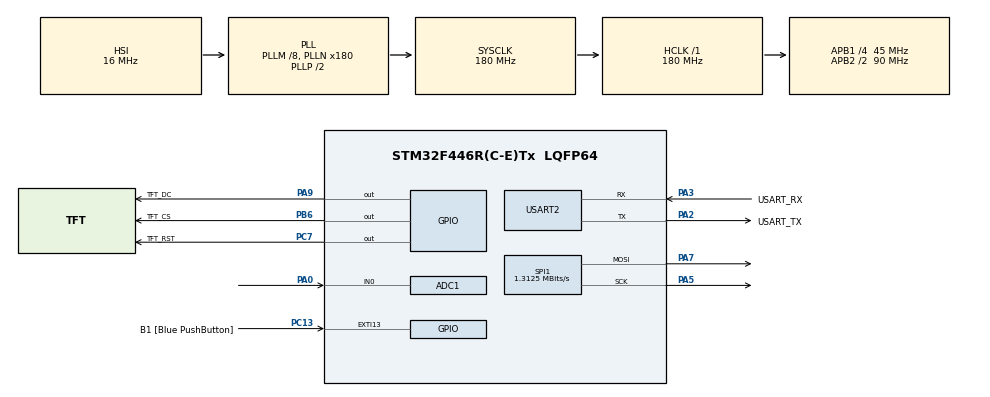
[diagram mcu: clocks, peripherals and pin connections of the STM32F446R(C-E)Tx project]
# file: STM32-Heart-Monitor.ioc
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ADC1.Channel-0\#ChannelRegularConversion=ADC_CHANNEL_0
ADC1.ContinuousConvMode=DISABLE
ADC1.DMAContinuousRequests=DISABLE
ADC1.ExternalTrigConv=ADC_EXTERNALTRIGCONV_T2_TRGO
ADC1.NbrOfConversionFlag=1
ADC1.Rank-0\#ChannelRegularConversion=1
ADC1.SamplingTime-0\#ChannelRegularConversion=ADC_SAMPLETIME_480CYCLES
ADC1.master=1
Dma.Request0=SPI1_TX
Dma.SPI1_TX.0.Direction=DMA_MEMORY_TO_PERIPH
Dma.SPI1_TX.0.FIFOMode=DMA_FIFOMODE_DISABLE
Dma.SPI1_TX.0.Instance=DMA2_Stream3
Dma.SPI1_TX.0.MemDataAlignment=DMA_MDATAALIGN_BYTE
Dma.SPI1_TX.0.MemInc=DMA_MINC_ENABLE
Dma.SPI1_TX.0.Mode=DMA_NORMAL
Dma.SPI1_TX.0.PeriphDataAlignment=DMA_PDATAALIGN_BYTE
Dma.SPI1_TX.0.PeriphInc=DMA_PINC_DISABLE
Dma.SPI1_TX.0.Priority=DMA_PRIORITY_LOW
FREERTOS.INCLUDE_vTaskDelayUntil=1
FREERTOS.Tasks01=graphTask,0,512,StartGraphTask,Default,NULL,Dynamic,NULL,NULL;sensorTask,3,256,StartSensorTask,Default,NULL,Dynamic,NULL,NULL;UITask,-2,128,StartUITask,Default,NULL,Dynamic,NULL,NULL;inferenceTask,-3,1024,StartInferenceTask,As weak,NULL,Dynamic,NULL,NULL
FREERTOS.configUSE_NEWLIB_REENTRANT=1
Mcu.Family=STM32F4
Mcu.Name=STM32F446R(C-E)Tx
Mcu.Package=LQFP64
NVIC.ADC_IRQn=true\:5\:0\:false\:false\:true\:true\:true\:true\:true
NVIC.DMA2_Stream3_IRQn=true\:5\:0\:false\:false\:true\:true\:false\:true\:true
NVIC.PriorityGroup=NVIC_PRIORITYGROUP_4
NVIC.SPI1_IRQn=true\:5\:0\:false\:false\:true\:true\:true\:true\:true
NVIC.TIM1_UP_TIM10_IRQn=true\:15\:0\:false\:false\:true\:false\:false\:true\:true
NVIC.TimeBase=TIM1_UP_TIM10_IRQn
NVIC.TimeBaseIP=TIM1
PA0-WKUP.Signal=ADCx_IN0
PA13.GPIO_Label=TMS
PA13.Mode=Serial_Wire
PA13.Signal=SYS_JTMS-SWDIO
PA14.GPIO_Label=TCK
PA14.Mode=Serial_Wire
PA14.Signal=SYS_JTCK-SWCLK
PA2.GPIO_Label=USART_TX
PA2.Mode=Asynchronous
PA2.Signal=USART2_TX
PA3.GPIO_Label=USART_RX
PA3.Mode=Asynchronous
PA3.Signal=USART2_RX
PA5.Mode=TX_Only_Simplex_Unidirect_Master
PA5.Signal=SPI1_SCK
PA7.Mode=TX_Only_Simplex_Unidirect_Master
PA7.Signal=SPI1_MOSI
PA9.GPIO_Label=TFT_DC
PA9.Signal=GPIO_Output
PB3.GPIO_Label=SWO
PB3.Signal=SYS_JTDO-SWO
PB6.GPIO_Label=TFT_CS
PB6.Signal=GPIO_Output
PC13.GPIO_Label=B1 [Blue PushButton]
PC13.GPIO_ModeDefaultEXTI=GPIO_MODE_IT_FALLING
PC13.Signal=GPXTI13
PC14-OSC32_IN.Mode=LSE-External-Oscillator
PC14-OSC32_IN.Signal=RCC_OSC32_IN
PC15-OSC32_OUT.Mode=LSE-External-Oscillator
PC15-OSC32_OUT.Signal=RCC_OSC32_OUT
PC7.GPIO_Label=TFT_RST
PC7.Signal=GPIO_Output
PH0-OSC_IN.Mode=HSE-External-Oscillator
PH0-OSC_IN.Signal=RCC_OSC_IN
PH1-OSC_OUT.Mode=HSE-External-Oscillator
PH1-OSC_OUT.Signal=RCC_OSC_OUT
ProjectManager.HeapSize=0x800
ProjectManager.StackSize=0x800
ProjectManager.TargetToolchain=STM32CubeIDE
RCC.48MHZClocksFreq_Value=84000000
RCC.AHBFreq_Value=180000000
RCC.APB1CLKDivider=RCC_HCLK_DIV4
RCC.APB1Freq_Value=45000000
RCC.APB1TimFreq_Value=90000000
RCC.APB2CLKDivider=RCC_HCLK_DIV2
RCC.APB2Freq_Value=90000000
RCC.APB2TimFreq_Value=180000000
RCC.CortexFreq_Value=180000000
RCC.FLatency-AdvancedSettings=FLASH_LATENCY_5
RCC.HCLKFreq_Value=180000000
RCC.HSE_VALUE=8000000
RCC.HSI_VALUE=16000000
RCC.PLLM=8
RCC.PLLN=180
RCC.PLLP=2
RCC.SYSCLKFreq_VALUE=180000000
RCC.SYSCLKSource=RCC_SYSCLKSOURCE_PLLCLK
RCC.USBFreq_Value=180000000
RCC.VCOOutputFreq_Value=360000000
SH.ADCx_IN0.0=ADC1_IN0,IN0
SPI1.BaudRatePrescaler=SPI_BAUDRATEPRESCALER_64
SPI1.CalculateBaudRate=1.3125 MBits/s
SPI1.Direction=SPI_DIRECTION_2LINES
SPI1.Mode=SPI_MODE_MASTER
SPI1.VirtualType=VM_MASTER
STMicroelectronics.X-CUBE-AI.10.2.0.ActivationBufferSizeList=94784
STMicroelectronics.X-CUBE-AI.10.2.0.ActivationBuffers=pool0
STMicroelectronics.X-CUBE-AI.10.2.0.ActivationNames=pool0
STMicroelectronics.X-CUBE-AI.10.2.0.ActivationSizes=AI_ECG_MODEL_DATA_ACTIVATION_1_SIZE
STMicroelectronics.X-CUBE-AI.10.2.0.HeapSize=0x800
STMicroelectronics.X-CUBE-AI.10.2.0.InternalRamActivationBufferMaxSize=AI_ECG_MODEL_DATA_ACTIVATIONS_SIZE
STMicroelectronics.X-CUBE-AI.10.2.0.LatestDirectoryUsed-f053007c6b7686058ecd9efc687a9a5fcd1ffeafef4148dfb31bc4c1f18884ef=/Users/andrewfranco/Documents/JetBrains/Pycharm/ecg-rhythm-classifier/model
STMicroelectronics.X-CUBE-AI.10.2.0.MaximumNumberOfInputLayer=1
STMicroelectronics.X-CUBE-AI.10.2.0.MaximumNumberOfOutputLayer=1
STMicroelectronics.X-CUBE-AI.10.2.0.MaximumSizeOfInputLayer=1
STMicroelectronics.X-CUBE-AI.10.2.0.MaximumSizeOfOutputLayer=1
STMicroelectronics.X-CUBE-AI.10.2.0.ModelActualCompression-f053007c6b7686058ecd9efc687a9a5fcd1ffeafef4148dfb31bc4c1f18884ef=0.0
STMicroelectronics.X-CUBE-AI.10.2.0.ModelCompression-f053007c6b7686058ecd9efc687a9a5fcd1ffeafef4148dfb31bc4c1f18884ef=None
STMicroelectronics.X-CUBE-AI.10.2.0.ModelFlashOccupation-f053007c6b7686058ecd9efc687a9a5fcd1ffeafef4148dfb31bc4c1f18884ef=65420
STMicroelectronics.X-CUBE-AI.10.2.0.ModelHashList=f053007c6b7686058ecd9efc687a9a5fcd1ffeafef4148dfb31bc4c1f18884ef
STMicroelectronics.X-CUBE-AI.10.2.0.ModelKind-f053007c6b7686058ecd9efc687a9a5fcd1ffeafef4148dfb31bc4c1f18884ef=TFLITE
STMicroelectronics.X-CUBE-AI.10.2.0.ModelMacc-f053007c6b7686058ecd9efc687a9a5fcd1ffeafef4148dfb31bc4c1f18884ef=4650835
STMicroelectronics.X-CUBE-AI.10.2.0.ModelName-f053007c6b7686058ecd9efc687a9a5fcd1ffeafef4148dfb31bc4c1f18884ef=ecg_model
STMicroelectronics.X-CUBE-AI.10.2.0.ModelNameList=ecg_model
STMicroelectronics.X-CUBE-AI.10.2.0.ModelRamOccupation-f053007c6b7686058ecd9efc687a9a5fcd1ffeafef4148dfb31bc4c1f18884ef=94784
STMicroelectronics.X-CUBE-AI.10.2.0.ModelStructureFile-f053007c6b7686058ecd9efc687a9a5fcd1ffeafef4148dfb31bc4c1f18884ef=/Users/andrewfranco/Documents/JetBrains/Pycharm/ecg-rhythm-classifier/model/energy_ecg_model_lr.tflite
STMicroelectronics.X-CUBE-AI.10.2.0.ModelType-f053007c6b7686058ecd9efc687a9a5fcd1ffeafef4148dfb31bc4c1f18884ef=STM32Cube.AI MCU runtime
STMicroelectronics.X-CUBE-AI.10.2.0.ReadyForCodeGeneration=true
STMicroelectronics.X-CUBE-AI.10.2.0.StackSize=0x800
STMicroelectronics.X-CUBE-AI.10.2.0.WorkingBufferStartAddrList=0xFFFFFFFF
STMicroelectronics.X-CUBE-AI.10.2.0.XAaCUBEAaAICcArtificialOoIntelligenceJjCore=true
STMicroelectronics.X-CUBE-AI.10.2.0.copyWeightToRam-f053007c6b7686058ecd9efc687a9a5fcd1ffeafef4148dfb31bc4c1f18884ef=false
STMicroelectronics.X-CUBE-AI.10.2.0.customLayerConfigEnabled-f053007c6b7686058ecd9efc687a9a5fcd1ffeafef4148dfb31bc4c1f18884ef=false
STMicroelectronics.X-CUBE-AI.10.2.0.noOnnxIoTranspose-f053007c6b7686058ecd9efc687a9a5fcd1ffeafef4148dfb31bc4c1f18884ef=false
STMicroelectronics.X-CUBE-AI.10.2.0.optimization-f053007c6b7686058ecd9efc687a9a5fcd1ffeafef4148dfb31bc4c1f18884ef=time
STMicroelectronics.X-CUBE-AI.10.2.0.outputDirectory-f053007c6b7686058ecd9efc687a9a5fcd1ffeafef4148dfb31bc4c1f18884ef=/Users/andrewfranco/.stm32cubemx/ecg_model_output
STMicroelectronics.X-CUBE-AI.10.2.0.useInputAllocation-f053007c6b7686058ecd9efc687a9a5fcd1ffeafef4148dfb31bc4c1f18884ef=true
STMicroelectronics.X-CUBE-AI.10.2.0.useOutputAllocation-f053007c6b7686058ecd9efc687a9a5fcd1ffeafef4148dfb31bc4c1f18884ef=true
TIM2.AutoReloadPreload=TIM_AUTORELOAD_PRELOAD_ENABLE
TIM2.Period=999
TIM2.Prescaler=83
TIM2.TIM_MasterOutputTrigger=TIM_TRGO_UPDATE
USART2.VirtualMode=VM_ASYNC
VP_FREERTOS_VS_CMSIS_V1.Mode=CMSIS_V1
VP_STMicroelectronics.X-CUBE-AI_VS_ArtificialOoIntelligenceJjXAaCUBEAaAI_10.2.0.Mode=ArtificialOoIntelligenceJjXAaCUBEAaAI
VP_SYS_VS_tim1.Mode=TIM1
VP_TIM2_VS_ClockSourceINT.Mode=Internal
board=NUCLEO-F446RE

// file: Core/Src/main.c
/* USER CODE BEGIN Header */
/**
  ******************************************************************************
  * @file           : main.c
  * @brief          : Main program body
  ******************************************************************************
  * @attention
  *
  * Copyright (c) 2025 STMicroelectronics.
  * All rights reserved.
  *
  * This software is licensed under terms that can be found in the LICENSE file
  * in the root directory of this software component.
  * If no LICENSE file comes with this software, it is provided AS-IS.
  *
  ******************************************************************************
  */
/* USER CODE END Header */
#include "main.h"
#include "cmsis_os.h"
#include "adc.h"
#include "dma.h"
#include "spi.h"
#include "tim.h"
#include "usart.h"
#include "gpio.h"

/* USER CODE BEGIN Includes */
#include "ili9341.h"
#include "filter.h"
#include "queue.h"
#include "semphr.h"
/* USER CODE END Includes */

/* USER CODE BEGIN PV */

/* USER CODE BEGIN PV */
volatile uint32_t raw_val = 0;
uint32_t last_tick = 0;

// RTOS Handles
extern osThreadId DisplayTaskHandle;
extern osThreadId SensorTaskHandle;
/* USER CODE END PV */

void SystemClock_Config(void);
void MX_FREERTOS_Init(void);

/* USER CODE BEGIN 0 */
#include "stdio.h"
#include "string.h"

/* USER CODE END 0 */

int main(void)
{

  /* MCU Configuration--------------------------------------------------------*/

  /* Reset of all peripherals, Initializes the Flash interface and the Systick. */
  HAL_Init();

  /* Configure the system clock */
  SystemClock_Config();

  /* Initialize all configured peripherals */
  MX_GPIO_Init();
  MX_DMA_Init();
  MX_USART2_UART_Init();
  MX_ADC1_Init();
  MX_TIM2_Init();
  MX_SPI1_Init();
  /* USER CODE BEGIN 2 */

  // Initialize tft screen
  ILI_Init_Minimal();
  ILI_Fill(0x0000); // Clear Screen

  uint16_t x = 0;
  uint16_t last_y = 120;
  /* USER CODE END 2 */

  /* Call init function for freertos objects (in cmsis_os2.c) */
  MX_FREERTOS_Init();

  /* Start scheduler */
  osKernelStart();

  /* We should never get here as control is now taken by the scheduler */

  /* Infinite loop */
  while (1) {

  }
}

void SystemClock_Config(void)
{
  RCC_OscInitTypeDef RCC_OscInitStruct = {0};
  RCC_ClkInitTypeDef RCC_ClkInitStruct = {0};

  /** Configure the main internal regulator output voltage
  */
  __HAL_RCC_PWR_CLK_ENABLE();
  __HAL_PWR_VOLTAGESCALING_CONFIG(PWR_REGULATOR_VOLTAGE_SCALE1);

  /** Initializes the RCC Oscillators according to the specified parameters
  * in the RCC_OscInitTypeDef structure.
  */
  RCC_OscInitStruct.OscillatorType = RCC_OSCILLATORTYPE_HSI;
  RCC_OscInitStruct.HSIState = RCC_HSI_ON;
  RCC_OscInitStruct.HSICalibrationValue = RCC_HSICALIBRATION_DEFAULT;
  RCC_OscInitStruct.PLL.PLLState = RCC_PLL_ON;
  RCC_OscInitStruct.PLL.PLLSource = RCC_PLLSOURCE_HSI;
  RCC_OscInitStruct.PLL.PLLM = 8;
  RCC_OscInitStruct.PLL.PLLN = 180;
  RCC_OscInitStruct.PLL.PLLP = 2;
  RCC_OscInitStruct.PLL.PLLQ = 2;
  RCC_OscInitStruct.PLL.PLLR = 2;
  if (HAL_RCC_OscConfig(&RCC_OscInitStruct) != HAL_OK)
  {
    Error_Handler();
  }

  /** Activate the Over-Drive mode
  */
  if (HAL_PWREx_EnableOverDrive() != HAL_OK)
  {
    Error_Handler();
  }

  /** Initializes the CPU, AHB and APB buses clocks
  */
  RCC_ClkInitStruct.ClockType = RCC_CLOCKTYPE_HCLK|RCC_CLOCKTYPE_SYSCLK
                              |RCC_CLOCKTYPE_PCLK1|RCC_CLOCKTYPE_PCLK2;
  RCC_ClkInitStruct.SYSCLKSource = RCC_SYSCLKSOURCE_PLLCLK;
  RCC_ClkInitStruct.AHBCLKDivider = RCC_SYSCLK_DIV1;
  RCC_ClkInitStruct.APB1CLKDivider = RCC_HCLK_DIV4;
  RCC_ClkInitStruct.APB2CLKDivider = RCC_HCLK_DIV2;

  if (HAL_RCC_ClockConfig(&RCC_ClkInitStruct, FLASH_LATENCY_5) != HAL_OK)
  {
    Error_Handler();
  }
}

/* USER CODE BEGIN 4 */
int _write(int file, char *ptr, int len)
{
  HAL_UART_Transmit(&huart2, (uint8_t*)ptr, len, HAL_MAX_DELAY);
  return len;
}

/* USER CODE END 4 */

void HAL_TIM_PeriodElapsedCallback(TIM_HandleTypeDef *htim)
{
  if (htim->Instance == TIM1)
  {
    HAL_IncTick();
  }
}

void Error_Handler(void)
{
  __disable_irq();
  while (1)
  {
  }
}

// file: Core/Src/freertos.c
/* USER CODE BEGIN Header */
/**
  ******************************************************************************
  * File Name          : freertos.c
  * Description        : Code for freertos applications
  ******************************************************************************
  * @attention
  *
  * Copyright (c) 2026 STMicroelectronics.
  * All rights reserved.
  *
  * This software is licensed under terms that can be found in the LICENSE file
  * in the root directory of this software component.
  * If no LICENSE file comes with this software, it is provided AS-IS.
  *
  ******************************************************************************
  */
/* USER CODE END Header */

#include "FreeRTOS.h"
#include "task.h"
#include "main.h"
#include "cmsis_os.h"

/* USER CODE BEGIN Includes */
#include <stdio.h>
#include "ili9341.h"
#include "filter.h"
#include "ad8232.h"
#include "graph.h"
#include "heart_rate.h"
#include "PanTompkins.h"
#include "tim.h"
#include "inference.h"

/* USER CODE END Includes */

/* USER CODE BEGIN Variables */

// ECG window
#define INFERENCE_INTERVAL 150
float    ecg_window[ECG_WINDOW_SIZE];
uint16_t window_idx       = 0;
uint16_t samples_since_inference = 0;
uint8_t  window_primed    = 0;

volatile RhythmClass_t global_rhythm   = RHYTHM_NONE;
volatile float         global_confidence = 0.0f;

// --- SHARED DATA ---
volatile uint8_t global_bpm = 0;

// HR Debug
// volatile uint8_t beat_detected_debug_flag = 0;

// --- HARDWARE HANDLES (Defined in main.c) ---
extern ADC_HandleTypeDef hadc1;
extern SPI_HandleTypeDef hspi1;

// --- RTOS OBJECTS ---
QueueHandle_t ecgQueue;
SemaphoreHandle_t lcdSpiSemaphore;
SemaphoreHandle_t inferenceReadySemaphore;

/* USER CODE END Variables */
osThreadId graphTaskHandle;
osThreadId sensorTaskHandle;
osThreadId UITaskHandle;
osThreadId inferenceTaskHandle;

void StartGraphTask(void const * argument);
void StartSensorTask(void const * argument);
void StartUITask(void const * argument);
void StartInferenceTask(void const * argument);

void MX_FREERTOS_Init(void); /* (MISRA C 2004 rule 8.1) */

/* GetIdleTaskMemory prototype (linked to static allocation support) */
void vApplicationGetIdleTaskMemory( StaticTask_t **ppxIdleTaskTCBBuffer, StackType_t **ppxIdleTaskStackBuffer, uint32_t *pulIdleTaskStackSize );

/* USER CODE BEGIN GET_IDLE_TASK_MEMORY */
static StaticTask_t xIdleTaskTCBBuffer;
static StackType_t xIdleStack[configMINIMAL_STACK_SIZE];

void vApplicationGetIdleTaskMemory( StaticTask_t **ppxIdleTaskTCBBuffer, StackType_t **ppxIdleTaskStackBuffer, uint32_t *pulIdleTaskStackSize )
{
  *ppxIdleTaskTCBBuffer = &xIdleTaskTCBBuffer;
  *ppxIdleTaskStackBuffer = &xIdleStack[0];
  *pulIdleTaskStackSize = configMINIMAL_STACK_SIZE;
  /* place for user code */
}
/* USER CODE END GET_IDLE_TASK_MEMORY */

void MX_FREERTOS_Init(void) {
  /* USER CODE BEGIN Init */

  ecgQueue = xQueueCreate(128, sizeof(uint16_t));

  // Create Semaphores (Binary)
  lcdSpiSemaphore = xSemaphoreCreateBinary();
  xSemaphoreGive(lcdSpiSemaphore);

  inferenceReadySemaphore = xSemaphoreCreateBinary();

  // Start ADC
  HAL_ADC_Start(&hadc1);

  /* USER CODE END Init */

  /* Create the thread(s) */
  /* definition and creation of graphTask */
  osThreadDef(graphTask, StartGraphTask, osPriorityNormal, 0, 512);
  graphTaskHandle = osThreadCreate(osThread(graphTask), NULL);

  /* definition and creation of sensorTask */
  osThreadDef(sensorTask, StartSensorTask, osPriorityRealtime, 0, 256);
  sensorTaskHandle = osThreadCreate(osThread(sensorTask), NULL);

  /* definition and creation of UITask */
  osThreadDef(UITask, StartUITask, osPriorityLow, 0, 128);
  UITaskHandle = osThreadCreate(osThread(UITask), NULL);

  /* definition and creation of inferenceTask */
  osThreadDef(inferenceTask, StartInferenceTask, osPriorityIdle, 0, 1024);
  inferenceTaskHandle = osThreadCreate(osThread(inferenceTask), NULL);

}

void StartGraphTask(void const * argument)
{
  /* USER CODE BEGIN StartGraphTask */
  PT_init();
  uint16_t val_from_queue;
  uint16_t filtered_val;
  uint32_t current_time;
  uint8_t decimation_counter = 0;

  /* Infinite loop */
  for(;;)
  {
    current_time = HAL_GetTick();

    // --- DATA PROCESSING ---
    if (xQueueReceive(ecgQueue, &val_from_queue, 1) == pdTRUE) {

      filtered_val = Filter_Signal(val_from_queue);

      // Keep UI and Heart Rate running at 1kHz for accuracy/smoothness
      Process_Graph(filtered_val);
      Process_HeartRate(filtered_val, current_time);

      // --- DOWNSAMPLING LOGIC (1kHz -> 100Hz) ---
      decimation_counter++;
      if (decimation_counter >= 10) {
        decimation_counter = 0; // Reset counter

        // Write into the AI circular buffer (happens 100 times a second)
        ecg_window[window_idx] = ((float)filtered_val - 2048.0f) / 2048.0f;
        window_idx = (window_idx + 1) % ECG_WINDOW_SIZE;

        // Prime check — wait for first full 10-second window before inferring
        if (!window_primed) {
          if (window_idx == 0) window_primed = 1;
          continue;
        }

        // Trigger inference every INFERENCE_INTERVAL samples
        // (150 samples at 100Hz = triggers every 1.5 seconds)
        samples_since_inference++;
        if (samples_since_inference >= INFERENCE_INTERVAL) {
          samples_since_inference = 0;
          xSemaphoreGive(inferenceReadySemaphore);
        }
      }
    }
  }
  /* USER CODE END StartGraphTask */
}

void StartSensorTask(void const * argument)
{
  /* USER CODE BEGIN StartSensorTask */
    HAL_ADC_Start_IT(&hadc1);
    HAL_TIM_Base_Start(&htim2);
  /* Infinite loop */
  for(;;)
  {
    osDelay(1000);
  }
  /* USER CODE END StartSensorTask */
}

void StartUITask(void const * argument)
{
  /* USER CODE BEGIN StartUITask */
  char bpm_str[16];
  char conf_str[16];
  uint8_t last_drawn_bpm = 255;
  float last_drawn_conf = 0;

  if (xSemaphoreTake(lcdSpiSemaphore, portMAX_DELAY) == pdTRUE) {
    ILI_Fill(0x0000);
    ILI_WriteString(10, 10, "ECG MONITOR", 0xFFFF, 0x0000, &Font_7x10);
    ILI_WriteString(190, 10, "RHYTHM ANALYSIS", 0xFFFF, 0x0000, &Font_7x10);
    ILI_DrawHLine(0, 50, 320, 0x7BEF); // Header Line
    xSemaphoreGive(lcdSpiSemaphore);
  }

  /* Infinite loop */
  for(;;)
  {
    osDelay(200);

    if (global_bpm != last_drawn_bpm) {
      if (global_bpm == 0) {
        ILI_Safe_WriteString(0, 30, "- 0 BPM     ", 0xF800, 0x0000, &Font_11x18);
      }
      else {
        sprintf(bpm_str, "+ %3d BPM    ", global_bpm);
        ILI_Safe_WriteString(0, 30, bpm_str, 0xF800, 0x0000, &Font_11x18);
      }
      last_drawn_bpm = global_bpm;
    }

    if (global_confidence != last_drawn_conf) {
      if (global_confidence > .75) {
        ILI_Safe_WriteString(200, 30, (char*)get_rhythm_string(global_rhythm),0xF800, 0x0000, &Font_7x10);
        sprintf(conf_str, "%3d%%", (int)(global_confidence * 100.0f));
        ILI_Safe_WriteString(160, 30, conf_str, 0xF800, 0x0000, &Font_7x10);
      }
      else {
        ILI_Safe_WriteString(200, 30, "UNSURE - CHECK",0xF800, 0x0000, &Font_7x10);
        sprintf(conf_str, "%3d%%", (int)(global_confidence * 100.0f));
        ILI_Safe_WriteString(160, 30, conf_str, 0xF800, 0x0000, &Font_7x10);
      }
    }
    last_drawn_conf = global_confidence;

  }
  /* USER CODE END StartUITask */
}

__weak void StartInferenceTask(void const * argument)
{
  /* USER CODE BEGIN StartInferenceTask */
  if (!inference_init()) {
    while(1) { osDelay(1000); }
  }

  /* Infinite loop */
  for(;;)
  {
    if (xSemaphoreTake(inferenceReadySemaphore, portMAX_DELAY) == pdTRUE) {
      global_rhythm = inference_run((float*)ecg_window, window_idx, (float *)&global_confidence);
    }
  }
  /* USER CODE END StartInferenceTask */
}

/* USER CODE BEGIN Application */

// --- DMA COMPLETE CALLBACK ---
void HAL_SPI_TxCpltCallback(SPI_HandleTypeDef *hspi)
{
  if (hspi->Instance == SPI1) {
    // Deselect CS
    HAL_GPIO_WritePin(GPIOB, GPIO_PIN_6, GPIO_PIN_SET);

    // Wake up the Display Task
    BaseType_t xHigherPriorityTaskWoken = pdFALSE;
    xSemaphoreGiveFromISR(lcdSpiSemaphore, &xHigherPriorityTaskWoken);
    portYIELD_FROM_ISR(xHigherPriorityTaskWoken);
  }
}

/* USER CODE END Application */
